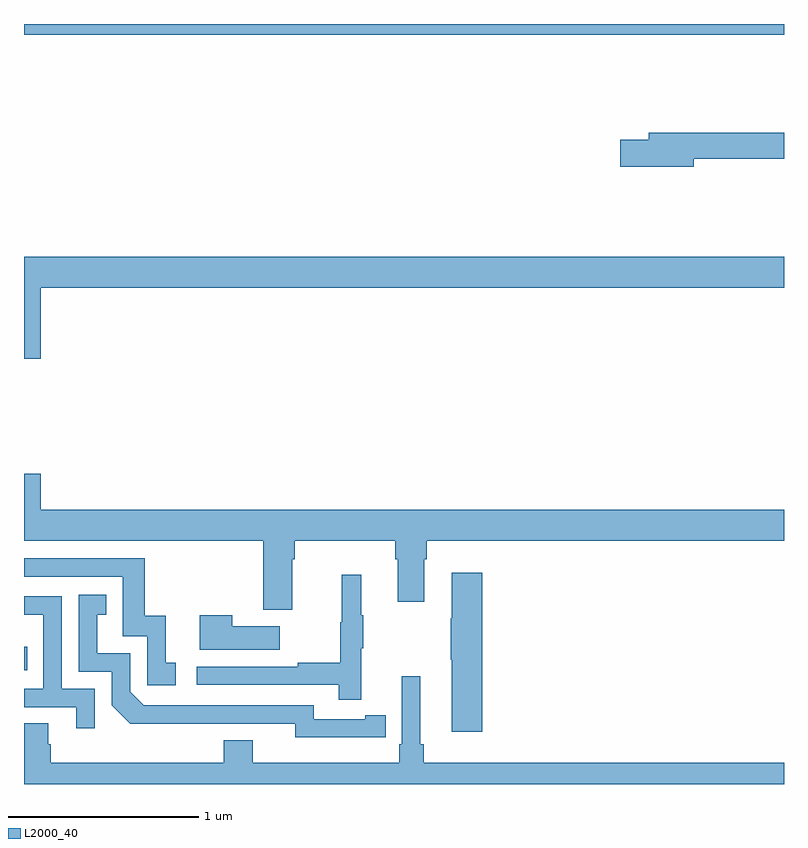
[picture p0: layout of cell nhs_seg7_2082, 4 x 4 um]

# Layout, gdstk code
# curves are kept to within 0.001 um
import gdstk
lib = gdstk.Library(unit=1e-6, precision=1e-09)
def R(c, l, rs):  # rectangles x0, y0, x1, y1
    for r in rs: c.add(gdstk.rectangle(r[:2], r[2:], *l))
def P(c, l, *ps):  # polygons
    for p in ps: c.add(gdstk.Polygon(p, *l))
L2000_40 = (2000, 40)

nhs_seg7_2082 = lib.new_cell('nhs_seg7_2082')
R(nhs_seg7_2082, L2000_40, [(249,1002.6,249.017,1002.723), (249,1005.944,253,1006)])
P(nhs_seg7_2082, L2000_40, [(252.526,1005.292),(253,1005.292),(253,1005.428),(252.287,1005.428),(252.287,1005.392),(252.138,1005.392),(252.138,1005.25),(252.526,1005.25)],
  [(249.088,1004.612),(253,1004.612),(253,1004.776),(249,1004.776),(249,1004.238),(249.088,1004.238)],
  [(250.411,1003.184),(250.424,1003.184),(250.424,1003.28),(250.955,1003.28),(250.955,1003.184),(250.967,1003.184),(250.967,1002.96),(251.107,1002.96),(251.107,1003.184),(251.12,1003.184),(251.12,1003.28),(253,1003.28),(253,1003.444),(249.088,1003.444),(249.088,1003.633),(249,1003.633),(249,1003.28),(250.259,1003.28),(250.259,1002.918),(250.411,1002.918)],
  [(249.799,1002.639),(249.746,1002.639),(249.746,1002.886),(249.635,1002.886),(249.635,1003.188),(249,1003.188),(249,1003.092),(249.519,1003.092),(249.519,1002.777),(249.648,1002.777),(249.648,1002.519),(249.799,1002.519)],
  [(251.411,1003.111),(251.252,1003.111),(251.252,1002.872),(251.245,1002.872),(251.245,1002.655),(251.252,1002.655),(251.252,1002.276),(251.411,1002.276)],
  [(250.775,1002.715),(250.786,1002.715),(250.786,1002.889),(250.775,1002.889),(250.775,1003.102),(250.672,1003.102),(250.672,1002.852),(250.665,1002.852),(250.665,1002.638),(250.441,1002.638),(250.441,1002.618),(249.909,1002.618),(249.909,1002.522),(250.657,1002.522),(250.657,1002.444),(250.775,1002.444)],
  [(250.796,1002.246),(250.904,1002.246),(250.904,1002.362),(250.796,1002.362),(250.796,1002.342),(250.524,1002.342),(250.524,1002.414),(249.63,1002.414),(249.558,1002.486),(249.558,1002.687),(249.385,1002.687),(249.385,1002.891),(249.434,1002.891),(249.434,1002.997),(249.288,1002.997),(249.288,1002.591),(249.462,1002.591),(249.462,1002.414),(249.56,1002.317),(250.428,1002.318),(250.428,1002.245)],
  [(249.372,1002.501),(249.198,1002.501),(249.198,1002.987),(249,1002.987),(249,1002.89),(249.102,1002.89),(249.102,1002.501),(249,1002.501),(249,1002.405),(249.275,1002.405),(249.275,1002.294),(249.372,1002.294)],
  [(250.345,1002.829),(250.097,1002.829),(250.097,1002.889),(249.926,1002.889),(249.926,1002.707),(250.345,1002.707)],
  [(253,1002.112),(251.105,1002.112),(251.105,1002.208),(251.086,1002.208),(251.086,1002.568),(250.989,1002.568),(250.989,1002.208),(250.976,1002.208),(250.976,1002.112),(250.204,1002.112),(250.204,1002.229),(250.052,1002.229),(250.052,1002.112),(249.14,1002.112),(249.14,1002.21),(249.127,1002.21),(249.127,1002.32),(249,1002.32),(249,1002),(253,1002)])

lib.write_gds('nhs_seg7_2082.gds')
